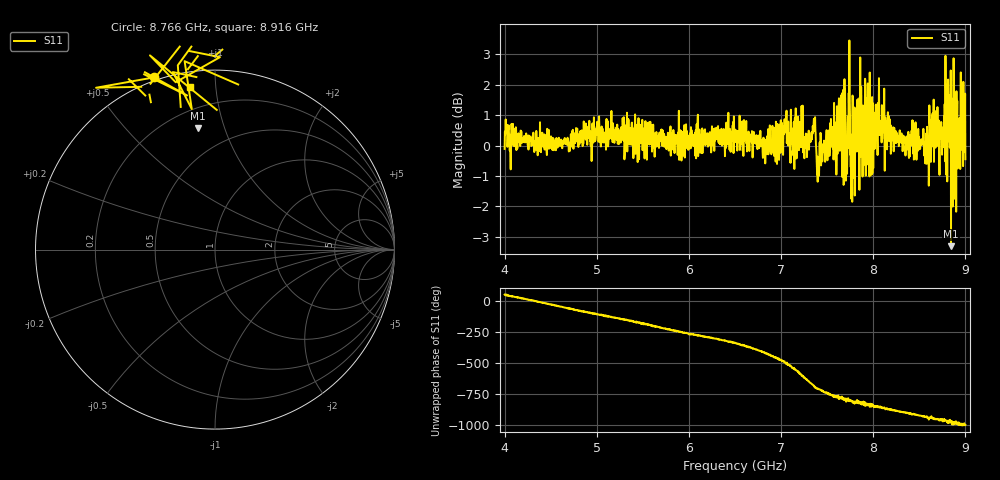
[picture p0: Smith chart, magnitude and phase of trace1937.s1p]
! Created with skrf 1.8.0 (http://scikit-rf.org).
# Hz S RI R 50.0
!freq ReS11 ImS11
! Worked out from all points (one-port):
!   1601 points, 4 GHz to 9 GHz, reference 50 ohm
!   lowest |S11| = -3.3 dB at 8.844 GHz (marker M1), VSWR 5.31, Z = 16.1 + j40.9 ohm
!   |S11| at or under -10 dB: nowhere
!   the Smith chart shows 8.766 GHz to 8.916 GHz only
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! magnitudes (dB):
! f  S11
! 4 GHz  -0.1
! 4.625 GHz  -0.1
! 5.25 GHz  0.2
! 5.875 GHz  0.3
! 6.5 GHz  0.2
! 6.806 GHz  -0.2
! 7.125 GHz  0.6
! 7.209 GHz  0.5
! 7.262 GHz  0.1
! 7.353 GHz  0.7
! 7.409 GHz  -0.8
! 7.672 GHz  1.8
! 7.703 GHz  -1.2
! 7.75 GHz  -0.3
! 7.775 GHz  1.6
! 7.834 GHz  1.5
! 7.909 GHz  1.3
! 7.928 GHz  0.9
! 7.981 GHz  -1.0
! 8.097 GHz  0.2
! 8.375 GHz  0.0
! 8.581 GHz  -0.6
! 8.656 GHz  1.5
! 8.741 GHz  0.2
! 8.816 GHz  0.1
! 8.844 GHz  -3.3
! 8.972 GHz  0.6
! 9 GHz  -0.5
